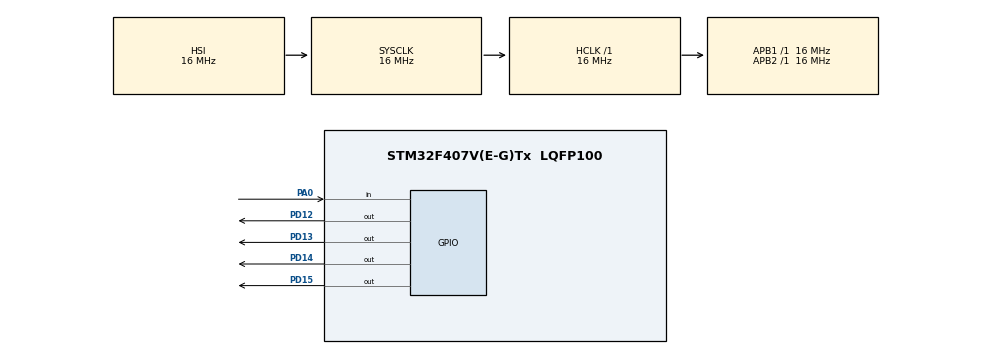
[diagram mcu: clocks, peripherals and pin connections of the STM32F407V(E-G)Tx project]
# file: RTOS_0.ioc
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Mcu.Family=STM32F4
Mcu.Name=STM32F407V(E-G)Tx
Mcu.Package=LQFP100
NVIC.PriorityGroup=NVIC_PRIORITYGROUP_4
NVIC.TIM1_UP_TIM10_IRQn=true\:15\:0\:false\:false\:true\:false\:true\:true
NVIC.TimeBase=TIM1_UP_TIM10_IRQn
NVIC.TimeBaseIP=TIM1
PA0-WKUP.Signal=GPIO_Input
PD12.Signal=GPIO_Output
PD13.Signal=GPIO_Output
PD14.Signal=GPIO_Output
PD15.Signal=GPIO_Output
ProjectManager.HeapSize=0x200
ProjectManager.StackSize=0x400
ProjectManager.TargetToolchain=STM32CubeIDE
RCC.AHBFreq_Value=16000000
RCC.APB1Freq_Value=16000000
RCC.APB2Freq_Value=16000000
RCC.CortexFreq_Value=16000000
RCC.HSE_VALUE=25000000
RCC.HSI_VALUE=16000000
RCC.LSE_VALUE=32768
RCC.SYSCLKFreq_VALUE=16000000
RCC.VCOOutputFreq_Value=192000000
VP_SYS_VS_tim1.Mode=TIM1
board=custom

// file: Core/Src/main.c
/* USER CODE BEGIN Header */
/**
  ******************************************************************************
  * @file           : main.c
  * @brief          : Main program body
  ******************************************************************************
  * @attention
  *
  * Copyright (c) 2026 STMicroelectronics.
  * All rights reserved.
  *
  * This software is licensed under terms that can be found in the LICENSE file
  * in the root directory of this software component.
  * If no LICENSE file comes with this software, it is provided AS-IS.
  *
  ******************************************************************************
  */
/* USER CODE END Header */
#include "main.h"

/* USER CODE BEGIN Includes */
#include "FreeRTOS.h"
#include "task.h"
#include "timers.h"
#include "queue.h"
#include "semphr.h"
#include "event_groups.h"
#include "SEGGER_SYSVIEW.h"
/* USER CODE END Includes */

void SystemClock_Config(void);
static void MX_GPIO_Init(void);
/* USER CODE BEGIN PFP */
void Task1(void *argument);
void Task2(void *argument);
void Task3(void *argument);
void lookBusy( void );
/* USER CODE END PFP */

int main(void)
{

  /* USER CODE BEGIN 1 */
  const static uint32_t stackSize = 128;
  /* USER CODE END 1 */

  /* MCU Configuration--------------------------------------------------------*/

  /* Reset of all peripherals, Initializes the Flash interface and the Systick. */
  HAL_Init();

  /* Configure the system clock */
  SystemClock_Config();

  /* Initialize all configured peripherals */
  MX_GPIO_Init();
  /* USER CODE BEGIN 2 */
  SEGGER_SYSVIEW_Conf();
  if (xTaskCreate(Task1, "task1", stackSize, NULL, tskIDLE_PRIORITY + 2, NULL) == pdPASS)
    	{
    		if (xTaskCreate(Task2, "task2", stackSize, NULL, tskIDLE_PRIORITY + 1, NULL) == pdPASS)
    		{
    			if (xTaskCreate(Task3, "task3", stackSize, NULL, tskIDLE_PRIORITY + 1, NULL) == pdPASS)
    			{
    				//start the scheduler - shouldn't return unless there's a problem
    				vTaskStartScheduler();
    			}
    		}
    	}
  /* USER CODE END 2 */

  /* Infinite loop */
  while (1)
  {

  }
}

void SystemClock_Config(void)
{
  RCC_OscInitTypeDef RCC_OscInitStruct = {0};
  RCC_ClkInitTypeDef RCC_ClkInitStruct = {0};

  /** Configure the main internal regulator output voltage
  */
  __HAL_RCC_PWR_CLK_ENABLE();
  __HAL_PWR_VOLTAGESCALING_CONFIG(PWR_REGULATOR_VOLTAGE_SCALE1);

  /** Initializes the RCC Oscillators according to the specified parameters
  * in the RCC_OscInitTypeDef structure.
  */
  RCC_OscInitStruct.OscillatorType = RCC_OSCILLATORTYPE_HSI;
  RCC_OscInitStruct.HSIState = RCC_HSI_ON;
  RCC_OscInitStruct.HSICalibrationValue = RCC_HSICALIBRATION_DEFAULT;
  RCC_OscInitStruct.PLL.PLLState = RCC_PLL_NONE;
  if (HAL_RCC_OscConfig(&RCC_OscInitStruct) != HAL_OK)
  {
    Error_Handler();
  }

  /** Initializes the CPU, AHB and APB buses clocks
  */
  RCC_ClkInitStruct.ClockType = RCC_CLOCKTYPE_HCLK|RCC_CLOCKTYPE_SYSCLK
                              |RCC_CLOCKTYPE_PCLK1|RCC_CLOCKTYPE_PCLK2;
  RCC_ClkInitStruct.SYSCLKSource = RCC_SYSCLKSOURCE_HSI;
  RCC_ClkInitStruct.AHBCLKDivider = RCC_SYSCLK_DIV1;
  RCC_ClkInitStruct.APB1CLKDivider = RCC_HCLK_DIV1;
  RCC_ClkInitStruct.APB2CLKDivider = RCC_HCLK_DIV1;

  if (HAL_RCC_ClockConfig(&RCC_ClkInitStruct, FLASH_LATENCY_0) != HAL_OK)
  {
    Error_Handler();
  }
}

static void MX_GPIO_Init(void)
{
  GPIO_InitTypeDef GPIO_InitStruct = {0};

  /* GPIO Ports Clock Enable */
  __HAL_RCC_GPIOA_CLK_ENABLE();
  __HAL_RCC_GPIOD_CLK_ENABLE();

  /*Configure GPIO pin Output Level */
  HAL_GPIO_WritePin(GPIOD, GPIO_PIN_12|GPIO_PIN_13|GPIO_PIN_14|GPIO_PIN_15, GPIO_PIN_RESET);

  /*Configure GPIO pin : PA0 */
  GPIO_InitStruct.Pin = GPIO_PIN_0;
  GPIO_InitStruct.Mode = GPIO_MODE_INPUT;
  GPIO_InitStruct.Pull = GPIO_NOPULL;
  HAL_GPIO_Init(GPIOA, &GPIO_InitStruct);

  /*Configure GPIO pins : PD12 PD13 PD14 PD15 */
  GPIO_InitStruct.Pin = GPIO_PIN_12|GPIO_PIN_13|GPIO_PIN_14|GPIO_PIN_15;
  GPIO_InitStruct.Mode = GPIO_MODE_OUTPUT_PP;
  GPIO_InitStruct.Pull = GPIO_NOPULL;
  GPIO_InitStruct.Speed = GPIO_SPEED_FREQ_LOW;
  HAL_GPIO_Init(GPIOD, &GPIO_InitStruct);

}

/* USER CODE BEGIN 4 */
void Task1(void *argument)
{
  while(1)
  {
	  SEGGER_SYSVIEW_PrintfHost("hey there!\n");
	  HAL_GPIO_WritePin(GPIOD, GPIO_PIN_12, SET);
	  vTaskDelay(105/ portTICK_PERIOD_MS);
	  HAL_GPIO_WritePin(GPIOD, GPIO_PIN_12, RESET);
	  vTaskDelay(100/ portTICK_PERIOD_MS);
  }
}

void Task2( void* argument )
{
	while(1)
	{
		SEGGER_SYSVIEW_PrintfHost("task 2 says 'Hi!'\n");
		HAL_GPIO_WritePin(GPIOD, GPIO_PIN_13, SET);
		vTaskDelay(200 / portTICK_PERIOD_MS);
		HAL_GPIO_WritePin(GPIOD, GPIO_PIN_13, RESET);
		vTaskDelay(200 / portTICK_PERIOD_MS);
	}
}

void Task3( void* argument )
{
	while(1)
	{
		lookBusy();

		SEGGER_SYSVIEW_PrintfHost("task3\n");
		HAL_GPIO_WritePin(GPIOD, GPIO_PIN_14, SET);
		vTaskDelay(500/ portTICK_PERIOD_MS);
		HAL_GPIO_WritePin(GPIOD, GPIO_PIN_14, RESET);
		vTaskDelay(500/ portTICK_PERIOD_MS);
	}
}

void lookBusy( void )
{
	volatile uint32_t __attribute__((unused)) dontCare = 0;
	for(int i = 0; i < 50E3; i++)
	{
		dontCare = i % 4;
	}
	SEGGER_SYSVIEW_PrintfHost("looking busy\n");
}
/* USER CODE END 4 */

void HAL_TIM_PeriodElapsedCallback(TIM_HandleTypeDef *htim)
{
  if (htim->Instance == TIM1)
  {
    HAL_IncTick();
  }
}

void Error_Handler(void)
{
  __disable_irq();
  while (1)
  {
  }
}
